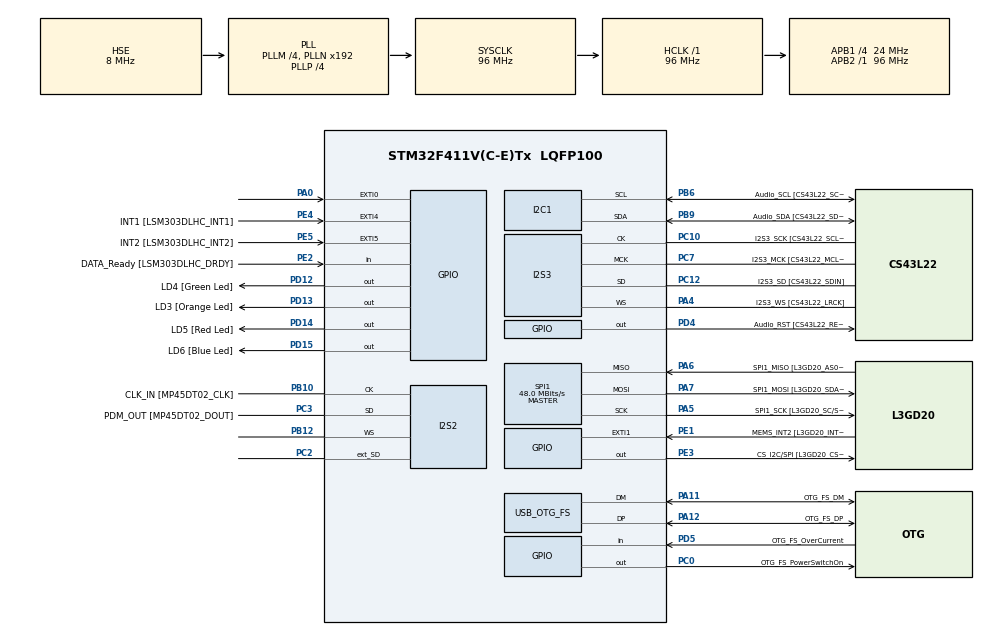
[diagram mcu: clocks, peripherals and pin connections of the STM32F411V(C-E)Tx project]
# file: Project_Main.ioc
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Mcu.Family=STM32F4
PC3.Mode=Full_Duplex_Master
PD12.GPIO_Label=LD4 [Green Led]
PA6.Mode=Full_Duplex_Master
USB_DEVICE.CLASS_NAME_FS=CDC
RCC.CortexFreq_Value=96000000
PC10.GPIO_PuPd=GPIO_NOPULL
SPI1.VirtualType=VM_MASTER
PB6.GPIO_Mode=GPIO_MODE_AF_OD
PB10.Mode=Full_Duplex_Master
PD15.GPIO_Speed=GPIO_SPEED_FREQ_LOW
PC10.Signal=I2S3_CK
PC12.Signal=I2S3_SD
PA14.GPIO_Label=SWCLK
PC0.GPIO_Label=OTG_FS_PowerSwitchOn
PA11.Mode=Device_Only
PA6.GPIO_Label=SPI1_MISO [L3GD20_AS0/SDO]
PB6.GPIO_Label=Audio_SCL [CS43L22_SCL]
PC10.GPIO_Speed=GPIO_SPEED_FREQ_LOW
PC15-OSC32_OUT.GPIO_Label=PC15-OSC32_OUT
RCC.SYSCLKSource=RCC_SYSCLKSOURCE_PLLCLK
ProjectManager.StackSize=0x400
VP_FREERTOS_VS_CMSIS_V2.Mode=CMSIS_V2
PD13.Signal=GPIO_Output
PD14.GPIO_Speed=GPIO_SPEED_FREQ_LOW
PA12.Signal=USB_OTG_FS_DP
PH0\ -\ OSC_IN.Signal=RCC_OSC_IN
PA4.Mode=Half_Duplex_Master
SPI1.Direction=SPI_DIRECTION_2LINES
RCC.HCLKFreq_Value=96000000
PD4.Signal=GPIO_Output
RCC.APB2TimFreq_Value=96000000
PB6.Signal=I2C1_SCL
PC7.Signal=I2S3_MCK
PB6.Mode=I2C
SPI1.CalculateBaudRate=48.0 MBits/s
PC3.Signal=I2S2_SD
PE5.Signal=GPXTI5
PE1.Signal=GPXTI1
RCC.AHBFreq_Value=96000000
NVIC.TIM1_TRG_COM_TIM11_IRQn=true\:0\:0\:false\:false\:true\:false\:false\:true
RCC.HSE_VALUE=8000000
PA4.GPIO_PuPd=GPIO_NOPULL
PA4.GPIO_Speed=GPIO_SPEED_FREQ_LOW
I2S3.ErrorAudioFreq=-6.99 %
PA14.Mode=Serial_Wire
PA10.GPIO_Label=OTG_FS_ID
PE4.GPIO_Label=INT1 [LSM303DLHC_INT1]
PC7.GPIO_Mode=GPIO_MODE_AF_PP
PE2.Signal=GPIO_Input
PD14.GPIO_PuPd=GPIO_NOPULL
PE4.Signal=GPXTI4
PD13.GPIO_Label=LD3 [Orange Led]
Mcu.Package=LQFP100
PB9.Signal=I2C1_SDA
PA6.Signal=SPI1_MISO
PB12.Mode=Full_Duplex_Master
NVIC.TimeBase=TIM1_TRG_COM_TIM11_IRQn
PD12.Signal=GPIO_Output
PD5.GPIO_Label=OTG_FS_OverCurrent
NVIC.OTG_FS_IRQn=true\:5\:0\:false\:false\:true\:true\:true\:true
PD15.GPIO_PuPd=GPIO_NOPULL
NVIC.TimeBaseIP=TIM11
PA10.Signal=USB_OTG_FS_ID
PB9.GPIO_PuPd=GPIO_NOPULL
USB_OTG_FS.VirtualMode=Device_Only
PB9.GPIO_Speed=GPIO_SPEED_FREQ_LOW
RCC.APB1TimFreq_Value=48000000
PC14-OSC32_IN.GPIO_Label=PC14-OSC32_IN
PC12.GPIO_PuPd=GPIO_NOPULL
SPI1.BaudRatePrescaler=SPI_BAUDRATEPRESCALER_2
PA4.GPIO_Label=I2S3_WS [CS43L22_LRCK]
PE2.GPIO_Label=DATA_Ready [LSM303DLHC_DRDY]
PD15.Signal=GPIO_Output
PC0.PinState=GPIO_PIN_SET
PA5.Mode=Full_Duplex_Master
PB3.GPIO_Label=SWO
I2S2.AudioFreq=I2S_AUDIOFREQ_96K
I2S3.FullDuplexMode=I2S_FULLDUPLEXMODE_DISABLE
PD12.GPIO_Speed=GPIO_SPEED_FREQ_LOW
FREERTOS.Tasks01=defaultTask,24,1024,StartDefaultTask,Default,NULL,Dynamic,NULL,NULL
PD15.GPIO_Label=LD6 [Blue Led]
PA7.Mode=Full_Duplex_Master
I2S2.Instance=SPI$Index
PB9.GPIO_Label=Audio_SDA [CS43L22_SDA]
PC10.GPIO_Label=I2S3_SCK [CS43L22_SCLK]
USB_DEVICE.VirtualModeFS=Cdc_FS
PA9.GPIO_Label=VBUS_FS
PB6.GPIO_PuPd=GPIO_NOPULL
PH1\ -\ OSC_OUT.Mode=HSE-External-Oscillator
PC2.Signal=I2S2_ext_SD
PC10.Mode=Half_Duplex_Master
PE4.GPIO_ModeDefaultEXTI=GPIO_MODE_EVT_RISING
PA11.GPIO_Label=OTG_FS_DM
PC2.Mode=Full_Duplex_Master
PD5.Signal=GPIO_Input
PC0.Signal=GPIO_Output
PE1.GPIO_ModeDefaultEXTI=GPIO_MODE_EVT_RISING
RCC.APB1CLKDivider=RCC_HCLK_DIV4
PC14-OSC32_IN.Signal=RCC_OSC32_IN
PA0-WKUP.GPIO_ModeDefaultEXTI=GPIO_MODE_EVT_RISING
PA12.GPIO_Label=OTG_FS_DP
PA0-WKUP.Signal=GPXTI0
PA13.Signal=SYS_JTMS-SWDIO
PC10.GPIO_Mode=GPIO_MODE_AF_PP
PH0\ -\ OSC_IN.Mode=HSE-External-Oscillator
ProjectManager.TargetToolchain=STM32CubeIDE
PE5.GPIO_ModeDefaultEXTI=GPIO_MODE_EVT_RISING
PB10.GPIO_Label=CLK_IN [MP45DT02_CLK]
VP_USB_DEVICE_VS_USB_DEVICE_CDC_FS.Mode=CDC_FS
PB9.Mode=I2C
PA9.Signal=USB_OTG_FS_VBUS
I2S2.VirtualMode=I2S_MODE_MASTER
I2S3.VirtualMode=I2S_MODE_MASTER
PC7.GPIO_PuPd=GPIO_NOPULL
RCC.LSE_VALUE=32768
PC15-OSC32_OUT.Signal=RCC_OSC32_OUT
PB10.Signal=I2S2_CK
PA5.Signal=SPI1_SCK
I2S3.AudioFreq=I2S_AUDIOFREQ_96K
PC12.Mode=Half_Duplex_Master
PH1\ -\ OSC_OUT.Signal=RCC_OSC_OUT
board=STM32F411E-DISCO
PD13.GPIO_Speed=GPIO_SPEED_FREQ_LOW
PC7.GPIO_Speed=GPIO_SPEED_FREQ_LOW
RCC.VCOOutputFreq_Value=384000000
PE1.GPIO_Label=MEMS_INT2 [L3GD20_INT2]
PB9.GPIO_Mode=GPIO_MODE_AF_OD
PA4.GPIO_Mode=GPIO_MODE_AF_PP
RCC.APB2Freq_Value=96000000
SPI1.Mode=SPI_MODE_MASTER
PD4.GPIO_Label=Audio_RST [CS43L22_RESET]
PD13.GPIO_PuPd=GPIO_NOPULL
PD14.GPIO_Label=LD5 [Red Led]
PA13.Mode=Serial_Wire
Mcu.Name=STM32F411V(C-E)Tx
VP_SYS_VS_tim11.Mode=TIM11
PA13.GPIO_Label=SWDIO
I2S2.FullDuplexMode=I2S_FULLDUPLEXMODE_ENABLE
PC7.GPIO_Label=I2S3_MCK [CS43L22_MCLK]
PD14.Signal=GPIO_Output
PH1\ -\ OSC_OUT.GPIO_Label=PH1-OSC_OUT
RCC.48MHZClocksFreq_Value=48000000
PB3.Signal=SYS_JTDO-SWO
PA4.Signal=I2S3_WS
RCC.SYSCLKFreq_VALUE=96000000
PC12.GPIO_Mode=GPIO_MODE_AF_PP
PA7.GPIO_Label=SPI1_MOSI [L3GD20_SDA/SDI/SDO]
PA12.Mode=Device_Only
PA5.GPIO_Label=SPI1_SCK [L3GD20_SC/SPC]
I2S2.ErrorAudioFreq=0.15 %
PE5.GPIO_Label=INT2 [LSM303DLHC_INT2]
PC12.GPIO_Label=I2S3_SD [CS43L22_SDIN]
PA11.Signal=USB_OTG_FS_DM
PA14.Signal=SYS_JTCK-SWCLK
ProjectManager.HeapSize=0x200
RCC.HSI_VALUE=16000000
RCC.PLLP=RCC_PLLP_DIV4
RCC.PLLQ=8
NVIC.PriorityGroup=NVIC_PRIORITYGROUP_4
I2S3.RealAudioFreq=89.285 KHz
RCC.PLLM=4
PE3.Signal=GPIO_Output
PE3.GPIO_Label=CS_I2C/SPI [L3GD20_CS_I2C/SPI]
PC3.GPIO_Label=PDM_OUT [MP45DT02_DOUT]
PH0\ -\ OSC_IN.GPIO_Label=PH0-OSC_IN
I2S3.Instance=SPI$Index
PC7.Mode=Master_Clock_Activated
PB6.GPIO_Speed=GPIO_SPEED_FREQ_LOW
RCC.APB1Freq_Value=24000000
PC12.GPIO_Speed=GPIO_SPEED_FREQ_LOW
I2S2.RealAudioFreq=96.153 KHz
USB_DEVICE.VirtualMode=Cdc
RCC.PLLI2SN=200
PB12.Signal=I2S2_WS
PD12.GPIO_PuPd=GPIO_NOPULL
RCC.PLLI2SM=5
PA7.Signal=SPI1_MOSI

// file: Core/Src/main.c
/* USER CODE BEGIN Header */
/**
  ******************************************************************************
  * @file           : main.c
  * @brief          : Main program body
  ******************************************************************************
  * @attention
  *
  * <h2><center>&copy; Copyright (c) 2021 STMicroelectronics.
  * All rights reserved.</center></h2>
  *
  * This software component is licensed by ST under Ultimate Liberty license
  * SLA0044, the "License"; You may not use this file except in compliance with
  * the License. You may obtain a copy of the License at:
  *                             www.st.com/SLA0044
  *
  ******************************************************************************
  */
/* USER CODE END Header */
#include "main.h"
#include "cmsis_os.h"
#include "usb_device.h"

/* USER CODE BEGIN Includes */
#include "usbd_cdc_if.h"
#include <string.h>
#include <stdio.h>
/* USER CODE END Includes */

I2C_HandleTypeDef hi2c1;

I2S_HandleTypeDef hi2s2;
I2S_HandleTypeDef hi2s3;

SPI_HandleTypeDef hspi1;

/* Definitions for defaultTask */
osThreadId_t defaultTaskHandle;
const osThreadAttr_t defaultTask_attributes = {
  .name = "defaultTask",
  .priority = (osPriority_t) osPriorityNormal,
  .stack_size = 1024 * 4
};
/* USER CODE BEGIN PV */
osThreadId_t new_task;
const osThreadAttr_t new_task_attribute = {
  .name = "new_task",
  .priority = (osPriority_t) osPriorityNormal,
  .stack_size = 512 * 4
};
uint8_t buffer[60];
uint8_t count = 0;
uint8_t flag = 5;
uint8_t init = 0;
/* USER CODE END PV */

void SystemClock_Config(void);
static void MX_GPIO_Init(void);
static void MX_I2C1_Init(void);
static void MX_I2S2_Init(void);
static void MX_I2S3_Init(void);
static void MX_SPI1_Init(void);
void StartDefaultTask(void *argument);

/* USER CODE BEGIN 0 */
int _write(int file, char *ptr, int len)
{
	int i =0;
	for(i=0;i<len;i++)
		ITM_SendChar((*ptr++));
	return len;
}
uint8_t new_task_init = 0;
void newTask(void *argument)
{
	for(;;) {
		if(!new_task_init) {
			CDC_Transmit_FS((uint8_t *) "Hello, from new task\r\n", strlen("Hello, from new task\r\n"));
			printf("Hello, from new task\r\n");
			new_task_init = 1;
		}
		osDelay(1);
	}
}
/* USER CODE END 0 */

int main(void)
{

  /* MCU Configuration--------------------------------------------------------*/

  /* Reset of all peripherals, Initializes the Flash interface and the Systick. */
  HAL_Init();

  /* Configure the system clock */
  SystemClock_Config();

  /* Initialize all configured peripherals */
  MX_GPIO_Init();
  MX_I2C1_Init();
  MX_I2S2_Init();
  MX_I2S3_Init();
  MX_SPI1_Init();

  /* Init scheduler */
  osKernelInitialize();

  /* Create the thread(s) */
  /* creation of defaultTask */
  defaultTaskHandle = osThreadNew(StartDefaultTask, NULL, &defaultTask_attributes);

  /* Start scheduler */
  osKernelStart();

  /* We should never get here as control is now taken by the scheduler */
  /* Infinite loop */
  while (1)
  {

  }
}

void SystemClock_Config(void)
{
  RCC_OscInitTypeDef RCC_OscInitStruct = {0};
  RCC_ClkInitTypeDef RCC_ClkInitStruct = {0};
  RCC_PeriphCLKInitTypeDef PeriphClkInitStruct = {0};

  /** Configure the main internal regulator output voltage
  */
  __HAL_RCC_PWR_CLK_ENABLE();
  __HAL_PWR_VOLTAGESCALING_CONFIG(PWR_REGULATOR_VOLTAGE_SCALE1);
  /** Initializes the RCC Oscillators according to the specified parameters
  * in the RCC_OscInitTypeDef structure.
  */
  RCC_OscInitStruct.OscillatorType = RCC_OSCILLATORTYPE_HSE;
  RCC_OscInitStruct.HSEState = RCC_HSE_ON;
  RCC_OscInitStruct.PLL.PLLState = RCC_PLL_ON;
  RCC_OscInitStruct.PLL.PLLSource = RCC_PLLSOURCE_HSE;
  RCC_OscInitStruct.PLL.PLLM = 4;
  RCC_OscInitStruct.PLL.PLLN = 192;
  RCC_OscInitStruct.PLL.PLLP = RCC_PLLP_DIV4;
  RCC_OscInitStruct.PLL.PLLQ = 8;
  if (HAL_RCC_OscConfig(&RCC_OscInitStruct) != HAL_OK)
  {
    Error_Handler();
  }
  /** Initializes the CPU, AHB and APB buses clocks
  */
  RCC_ClkInitStruct.ClockType = RCC_CLOCKTYPE_HCLK|RCC_CLOCKTYPE_SYSCLK
                              |RCC_CLOCKTYPE_PCLK1|RCC_CLOCKTYPE_PCLK2;
  RCC_ClkInitStruct.SYSCLKSource = RCC_SYSCLKSOURCE_PLLCLK;
  RCC_ClkInitStruct.AHBCLKDivider = RCC_SYSCLK_DIV1;
  RCC_ClkInitStruct.APB1CLKDivider = RCC_HCLK_DIV4;
  RCC_ClkInitStruct.APB2CLKDivider = RCC_HCLK_DIV1;

  if (HAL_RCC_ClockConfig(&RCC_ClkInitStruct, FLASH_LATENCY_3) != HAL_OK)
  {
    Error_Handler();
  }
  PeriphClkInitStruct.PeriphClockSelection = RCC_PERIPHCLK_I2S;
  PeriphClkInitStruct.PLLI2S.PLLI2SN = 200;
  PeriphClkInitStruct.PLLI2S.PLLI2SM = 5;
  PeriphClkInitStruct.PLLI2S.PLLI2SR = 2;
  if (HAL_RCCEx_PeriphCLKConfig(&PeriphClkInitStruct) != HAL_OK)
  {
    Error_Handler();
  }
}

static void MX_I2C1_Init(void)
{

  hi2c1.Instance = I2C1;
  hi2c1.Init.ClockSpeed = 100000;
  hi2c1.Init.DutyCycle = I2C_DUTYCYCLE_2;
  hi2c1.Init.OwnAddress1 = 0;
  hi2c1.Init.AddressingMode = I2C_ADDRESSINGMODE_7BIT;
  hi2c1.Init.DualAddressMode = I2C_DUALADDRESS_DISABLE;
  hi2c1.Init.OwnAddress2 = 0;
  hi2c1.Init.GeneralCallMode = I2C_GENERALCALL_DISABLE;
  hi2c1.Init.NoStretchMode = I2C_NOSTRETCH_DISABLE;
  if (HAL_I2C_Init(&hi2c1) != HAL_OK)
  {
    Error_Handler();
  }

}

static void MX_I2S2_Init(void)
{

  hi2s2.Instance = SPI2;
  hi2s2.Init.Mode = I2S_MODE_MASTER_TX;
  hi2s2.Init.Standard = I2S_STANDARD_PHILIPS;
  hi2s2.Init.DataFormat = I2S_DATAFORMAT_16B;
  hi2s2.Init.MCLKOutput = I2S_MCLKOUTPUT_DISABLE;
  hi2s2.Init.AudioFreq = I2S_AUDIOFREQ_96K;
  hi2s2.Init.CPOL = I2S_CPOL_LOW;
  hi2s2.Init.ClockSource = I2S_CLOCK_PLL;
  hi2s2.Init.FullDuplexMode = I2S_FULLDUPLEXMODE_ENABLE;
  if (HAL_I2S_Init(&hi2s2) != HAL_OK)
  {
    Error_Handler();
  }

}

static void MX_I2S3_Init(void)
{

  hi2s3.Instance = SPI3;
  hi2s3.Init.Mode = I2S_MODE_MASTER_TX;
  hi2s3.Init.Standard = I2S_STANDARD_PHILIPS;
  hi2s3.Init.DataFormat = I2S_DATAFORMAT_16B;
  hi2s3.Init.MCLKOutput = I2S_MCLKOUTPUT_ENABLE;
  hi2s3.Init.AudioFreq = I2S_AUDIOFREQ_96K;
  hi2s3.Init.CPOL = I2S_CPOL_LOW;
  hi2s3.Init.ClockSource = I2S_CLOCK_PLL;
  hi2s3.Init.FullDuplexMode = I2S_FULLDUPLEXMODE_DISABLE;
  if (HAL_I2S_Init(&hi2s3) != HAL_OK)
  {
    Error_Handler();
  }

}

static void MX_SPI1_Init(void)
{

  /* SPI1 parameter configuration*/
  hspi1.Instance = SPI1;
  hspi1.Init.Mode = SPI_MODE_MASTER;
  hspi1.Init.Direction = SPI_DIRECTION_2LINES;
  hspi1.Init.DataSize = SPI_DATASIZE_8BIT;
  hspi1.Init.CLKPolarity = SPI_POLARITY_LOW;
  hspi1.Init.CLKPhase = SPI_PHASE_1EDGE;
  hspi1.Init.NSS = SPI_NSS_SOFT;
  hspi1.Init.BaudRatePrescaler = SPI_BAUDRATEPRESCALER_2;
  hspi1.Init.FirstBit = SPI_FIRSTBIT_MSB;
  hspi1.Init.TIMode = SPI_TIMODE_DISABLE;
  hspi1.Init.CRCCalculation = SPI_CRCCALCULATION_DISABLE;
  hspi1.Init.CRCPolynomial = 10;
  if (HAL_SPI_Init(&hspi1) != HAL_OK)
  {
    Error_Handler();
  }

}

static void MX_GPIO_Init(void)
{
  GPIO_InitTypeDef GPIO_InitStruct = {0};

  /* GPIO Ports Clock Enable */
  __HAL_RCC_GPIOE_CLK_ENABLE();
  __HAL_RCC_GPIOC_CLK_ENABLE();
  __HAL_RCC_GPIOH_CLK_ENABLE();
  __HAL_RCC_GPIOA_CLK_ENABLE();
  __HAL_RCC_GPIOB_CLK_ENABLE();
  __HAL_RCC_GPIOD_CLK_ENABLE();

  /*Configure GPIO pin Output Level */
  HAL_GPIO_WritePin(CS_I2C_SPI_GPIO_Port, CS_I2C_SPI_Pin, GPIO_PIN_RESET);

  /*Configure GPIO pin Output Level */
  HAL_GPIO_WritePin(OTG_FS_PowerSwitchOn_GPIO_Port, OTG_FS_PowerSwitchOn_Pin, GPIO_PIN_SET);

  /*Configure GPIO pin Output Level */
  HAL_GPIO_WritePin(GPIOD, LD4_Pin|LD3_Pin|LD5_Pin|LD6_Pin
                          |Audio_RST_Pin, GPIO_PIN_RESET);

  /*Configure GPIO pin : DATA_Ready_Pin */
  GPIO_InitStruct.Pin = DATA_Ready_Pin;
  GPIO_InitStruct.Mode = GPIO_MODE_INPUT;
  GPIO_InitStruct.Pull = GPIO_NOPULL;
  HAL_GPIO_Init(DATA_Ready_GPIO_Port, &GPIO_InitStruct);

  /*Configure GPIO pin : CS_I2C_SPI_Pin */
  GPIO_InitStruct.Pin = CS_I2C_SPI_Pin;
  GPIO_InitStruct.Mode = GPIO_MODE_OUTPUT_PP;
  GPIO_InitStruct.Pull = GPIO_NOPULL;
  GPIO_InitStruct.Speed = GPIO_SPEED_FREQ_LOW;
  HAL_GPIO_Init(CS_I2C_SPI_GPIO_Port, &GPIO_InitStruct);

  /*Configure GPIO pins : INT1_Pin INT2_Pin MEMS_INT2_Pin */
  GPIO_InitStruct.Pin = INT1_Pin|INT2_Pin|MEMS_INT2_Pin;
  GPIO_InitStruct.Mode = GPIO_MODE_EVT_RISING;
  GPIO_InitStruct.Pull = GPIO_NOPULL;
  HAL_GPIO_Init(GPIOE, &GPIO_InitStruct);

  /*Configure GPIO pin : OTG_FS_PowerSwitchOn_Pin */
  GPIO_InitStruct.Pin = OTG_FS_PowerSwitchOn_Pin;
  GPIO_InitStruct.Mode = GPIO_MODE_OUTPUT_PP;
  GPIO_InitStruct.Pull = GPIO_NOPULL;
  GPIO_InitStruct.Speed = GPIO_SPEED_FREQ_LOW;
  HAL_GPIO_Init(OTG_FS_PowerSwitchOn_GPIO_Port, &GPIO_InitStruct);

  /*Configure GPIO pin : PA0 */
  GPIO_InitStruct.Pin = GPIO_PIN_0;
  GPIO_InitStruct.Mode = GPIO_MODE_EVT_RISING;
  GPIO_InitStruct.Pull = GPIO_NOPULL;
  HAL_GPIO_Init(GPIOA, &GPIO_InitStruct);

  /*Configure GPIO pins : LD4_Pin LD3_Pin LD5_Pin LD6_Pin
                           Audio_RST_Pin */
  GPIO_InitStruct.Pin = LD4_Pin|LD3_Pin|LD5_Pin|LD6_Pin
                          |Audio_RST_Pin;
  GPIO_InitStruct.Mode = GPIO_MODE_OUTPUT_PP;
  GPIO_InitStruct.Pull = GPIO_NOPULL;
  GPIO_InitStruct.Speed = GPIO_SPEED_FREQ_LOW;
  HAL_GPIO_Init(GPIOD, &GPIO_InitStruct);

  /*Configure GPIO pin : OTG_FS_OverCurrent_Pin */
  GPIO_InitStruct.Pin = OTG_FS_OverCurrent_Pin;
  GPIO_InitStruct.Mode = GPIO_MODE_INPUT;
  GPIO_InitStruct.Pull = GPIO_NOPULL;
  HAL_GPIO_Init(OTG_FS_OverCurrent_GPIO_Port, &GPIO_InitStruct);

}

/* USER CODE BEGIN 4 */
void CDC_ReceiveCallback(uint8_t *Buf, uint16_t Len)
{
	if(Buf[0] != '\r') {
		if(((char)Buf[0] >= 65 && (char)Buf[0] <= 90) || ((char)Buf[0] >= 97 && (char)Buf[0] <= 122)) {
			buffer[count++] = Buf[0];
			CDC_Transmit_FS(Buf, Len);
		}
	} else {
		uint8_t buf_cb[256] = "\r\ncallback: ";
		strcat((char *) buf_cb, (char *) buffer);
		strcat((char *) buf_cb, "\r\n");
		CDC_Transmit_FS(buf_cb, strlen((char *) buf_cb));
		for(uint8_t i = 0; i < 32; i++)
		{
			if((char)buffer[i] == 'h' && (char)buffer[i+1] == 'e' && (char)buffer[i+2] == 'l' && (char)buffer[i+3] == 'p') {
				flag = 0;
				break;
			} else if((char)buffer[i] == 'c' && (char)buffer[i+1] == 'r' && (char)buffer[i+2] == 'e' && (char)buffer[i+3] == 'a' && (char)buffer[i+4] == 't' && (char)buffer[i+5] == 'e') {
				flag = 1;
				break;
			} else if((char)buffer[i] == 'd' && (char)buffer[i+1] == 'e' && (char)buffer[i+2] == 'l' && (char)buffer[i+3] == 'e' && (char)buffer[i+4] == 't' && (char)buffer[i+5] == 'e') {
				flag = 2;
				break;
			} else if((char)buffer[i] == 's' && (char)buffer[i+1] == 'h' && (char)buffer[i+2] == 'o' && (char)buffer[i+3] == 'w') {
				flag = 3;
				break;
			} else if((char)buffer[i] == 'p' && (char)buffer[i+1] == 'r' && (char)buffer[i+2] == 'i' && (char)buffer[i+3] == 'o' && (char)buffer[i+4] == 'r' && (char)buffer[i+5] == 'i' && (char)buffer[i+6] == 't' && (char)buffer[i+7] == 'y') {
				flag = 4;
				break;
			} else {
				flag = 5;
			}
		}
		init = 1;
		memset(buffer, 0, sizeof buffer);
		count = 0;
	}
}
/* USER CODE END 4 */

void StartDefaultTask(void *argument)
{
  /* init code for USB_DEVICE */
  MX_USB_DEVICE_Init();
  /* USER CODE BEGIN 5 */
  /* Infinite loop */
  for(;;)
  {
	if(init && flag == 5) {
		CDC_Transmit_FS((uint8_t *)"[-] Command not available! Type help for more info!\r\n", strlen("[-] Command not available! Type help for more info!\r\n"));
		init = 0;
	}
	else if(init && flag == 0) {
		CDC_Transmit_FS((uint8_t *)"[+] Following commands are available:\r\ncreate : create a task\r\ndelete : delete a task\r\nshow : show the tasks\r\npriority : change the priority of a task\r\n\r\n", strlen("[+] Following commands are available:\r\ncreate : create a task\r\ndelete : delete a task\r\nshow : show the tasks\r\npriority : change the priority of a task\r\n\r\n"));
		init = 0;
	}
	else if(init && flag == 1) {
		if(new_task_init) {
			CDC_Transmit_FS((uint8_t *) "[-] New Task already created!\r\n", strlen("[-] New Task already created!\r\n"));
		} else {
			new_task = osThreadNew(newTask, NULL, &new_task_attribute);
			CDC_Transmit_FS((uint8_t *) "[+] New Task created!\r\n", strlen("[+] New Task created!\r\n"));

		}
		init = 0;
	}
	else if(init && flag == 2)
	{
		if(new_task_init) {
			osThreadTerminate(new_task);
			new_task_init = 0;
			CDC_Transmit_FS((uint8_t *) "[+] New Task destroyed!\r\n", strlen("[+] New Task destroyed!\r\n"));
			printf("newTask destroyed!\r\n");
		} else {
			CDC_Transmit_FS((uint8_t *) "[+] New Task not created!\r\n", strlen("[+] New Task not created!\r\n"));
		}
		init = 0;
	}
	else if(init && flag == 3)
	{
		uint32_t task_count = osThreadGetCount();
		char buf[9];
		sprintf(buf, "%08x", task_count);
		char tmp_buf[256] = "[+] Total number of tasks running : ";
		strcat(tmp_buf, buf);
		strcat(tmp_buf, "\r\n");
		CDC_Transmit_FS((uint8_t *)tmp_buf, strlen(tmp_buf));
		init = 0;
	}
	else if(init && flag == 4)
	{
		osThreadSetPriority(defaultTaskHandle, osPriorityHigh);
		CDC_Transmit_FS((uint8_t *)"[+]Priority changed to high of default thread!\r\n", strlen("[+]Priority changed to high of default thread!\r\n"));
		init = 0;
	}
    osDelay(1);
  }
  /* USER CODE END 5 */
}

 /**
  * @brief  Period elapsed callback in non blocking mode
  * @note   This function is called  when TIM11 interrupt took place, inside
  * HAL_TIM_IRQHandler(). It makes a direct call to HAL_IncTick() to increment
  * a global variable "uwTick" used as application time base.
  * @param  htim : TIM handle
  * @retval None
  */
void HAL_TIM_PeriodElapsedCallback(TIM_HandleTypeDef *htim)
{
  if (htim->Instance == TIM11) {
    HAL_IncTick();
  }
}

void Error_Handler(void)
{
  __disable_irq();
  while (1)
  {
  }
}

/************************ (C) COPYRIGHT STMicroelectronics *****END OF FILE****/
